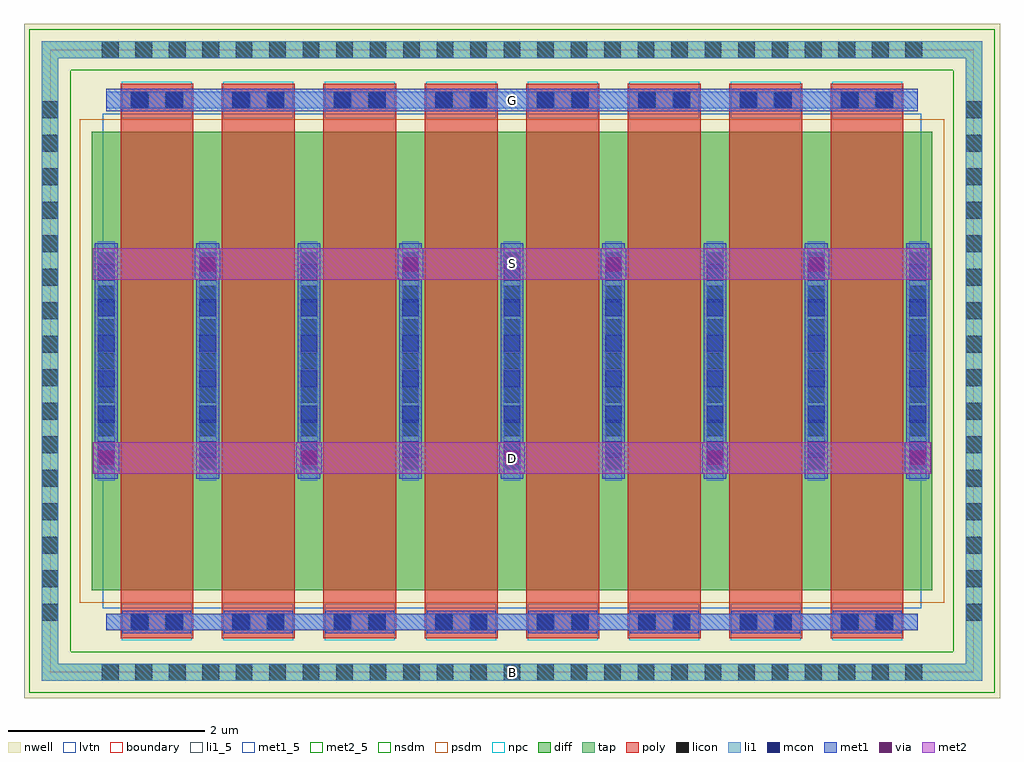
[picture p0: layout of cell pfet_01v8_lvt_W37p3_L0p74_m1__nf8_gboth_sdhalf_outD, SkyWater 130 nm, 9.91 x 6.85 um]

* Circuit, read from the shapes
.subckt pfet_01v8_lvt_W37p3_L0p74_m1__nf8_gboth_sdhalf_outD B D G S
XM1 S G D B sky130_fd_pr__pfet_01v8_lvt w=4.66 l=0.74 m=8
.ends

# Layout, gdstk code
import gdstk
lib = gdstk.Library(unit=1e-6, precision=1e-09)
def R(c, l, rs):  # rectangles x0, y0, x1, y1
    for r in rs: c.add(gdstk.rectangle(r[:2], r[2:], *l))
def A(c, l, x, y, w, h, nx, ny, dx, dy):  # array of equal rectangles
    R(c, l, [(x+i*dx, y+j*dy, x+i*dx+w, y+j*dy+h) for i in range(nx) for j in range(ny)])
nwell = (64, 20)
diff = (65, 20)
tap = (65, 44)
poly = (66, 20)
licon = (66, 44)
li1_5 = (67, 5)
li1 = (67, 20)
mcon = (67, 44)
met1_5 = (68, 5)
met1 = (68, 20)
via = (68, 44)
met2_5 = (69, 5)
met2 = (69, 20)
nsdm = (93, 44)
psdm = (94, 20)
npc = (95, 20)
lvtn = (125, 44)
boundary = (235, 4)

sky130_fd_pr__pfet_01v8_ = lib.new_cell('sky130_fd_pr__pfet_01v8_lvt_UUM67X')
R(sky130_fd_pr__pfet_01v8_, nwell, [(-4.955,-3.425,4.955,3.425)])
R(sky130_fd_pr__pfet_01v8_, diff, [(-4.265,-2.33,4.265,2.33)])
R(sky130_fd_pr__pfet_01v8_, tap, [(-4.775,-3.245,4.775,-3.075), (-4.775,-3.075,-4.605,3.075), (4.605,-3.075,4.775,3.075), (-4.775,3.075,4.775,3.245)])
A(sky130_fd_pr__pfet_01v8_, poly, -3.975, -2.815, 0.74, 5.63, 8, 1, 1.03, 0)
A(sky130_fd_pr__pfet_01v8_, licon, -4.165, -3.245, 0.17, 0.17, 25, 2, 0.34, 6.32)
A(sky130_fd_pr__pfet_01v8_, licon, -4.775, -2.635, 0.17, 0.17, 1, 16, 0, 0.34)
A(sky130_fd_pr__pfet_01v8_, licon, 4.605, -2.635, 0.17, 0.17, 1, 16, 0, 0.34)
A(sky130_fd_pr__pfet_01v8_, licon, -4.205, -1.105, 0.17, 0.17, 9, 7, 1.03, 0.34)
R(sky130_fd_pr__pfet_01v8_, licon, [(-3.86,-2.735,-3.69,-2.565), (-3.52,-2.735,-3.35,-2.565), (-2.83,-2.735,-2.66,-2.565), (-2.49,-2.735,-2.32,-2.565), (-1.8,-2.735,-1.63,-2.565), (-1.46,-2.735,-1.29,-2.565), (-0.77,-2.735,-0.6,-2.565), (-0.43,-2.735,-0.26,-2.565), (0.26,-2.735,0.43,-2.565), (0.6,-2.735,0.77,-2.565), (1.29,-2.735,1.46,-2.565), (1.63,-2.735,1.8,-2.565), (2.32,-2.735,2.49,-2.565), (2.66,-2.735,2.83,-2.565), (3.35,-2.735,3.52,-2.565), (3.69,-2.735,3.86,-2.565), (-3.86,2.565,-3.69,2.735), (-3.52,2.565,-3.35,2.735), (-2.83,2.565,-2.66,2.735), (-2.49,2.565,-2.32,2.735), (-1.8,2.565,-1.63,2.735), (-1.46,2.565,-1.29,2.735), (-0.77,2.565,-0.6,2.735), (-0.43,2.565,-0.26,2.735), (0.26,2.565,0.43,2.735), (0.6,2.565,0.77,2.735), (1.29,2.565,1.46,2.735), (1.63,2.565,1.8,2.735), (2.32,2.565,2.49,2.735), (2.66,2.565,2.83,2.735), (3.35,2.565,3.52,2.735), (3.69,2.565,3.86,2.735)])
A(sky130_fd_pr__pfet_01v8_, li1, -4.205, -1.215, 0.17, 2.43, 9, 1, 1.03, 0)
R(sky130_fd_pr__pfet_01v8_, li1, [(-4.775,-3.245,4.775,-3.075), (-4.775,-3.075,-4.605,3.075), (4.605,-3.075,4.775,3.075), (-4.12,-2.735,4.12,-2.565), (-4.12,2.565,4.12,2.735), (-4.775,3.075,4.775,3.245)])
A(sky130_fd_pr__pfet_01v8_, mcon, -4.205, -0.985, 0.17, 0.17, 9, 6, 1.03, 0.36)
R(sky130_fd_pr__pfet_01v8_, mcon, [(-3.87,-2.735,-3.7,-2.565), (-3.51,-2.735,-3.34,-2.565), (-2.84,-2.735,-2.67,-2.565), (-2.48,-2.735,-2.31,-2.565), (-1.81,-2.735,-1.64,-2.565), (-1.45,-2.735,-1.28,-2.565), (-0.78,-2.735,-0.61,-2.565), (-0.42,-2.735,-0.25,-2.565), (0.25,-2.735,0.42,-2.565), (0.61,-2.735,0.78,-2.565), (1.28,-2.735,1.45,-2.565), (1.64,-2.735,1.81,-2.565), (2.31,-2.735,2.48,-2.565), (2.67,-2.735,2.84,-2.565), (3.34,-2.735,3.51,-2.565), (3.7,-2.735,3.87,-2.565), (-3.87,2.565,-3.7,2.735), (-3.51,2.565,-3.34,2.735), (-2.84,2.565,-2.67,2.735), (-2.48,2.565,-2.31,2.735), (-1.81,2.565,-1.64,2.735), (-1.45,2.565,-1.28,2.735), (-0.78,2.565,-0.61,2.735), (-0.42,2.565,-0.25,2.735), (0.25,2.565,0.42,2.735), (0.61,2.565,0.78,2.735), (1.28,2.565,1.45,2.735), (1.64,2.565,1.81,2.735), (2.31,2.565,2.48,2.735), (2.67,2.565,2.84,2.735), (3.34,2.565,3.51,2.735), (3.7,2.565,3.87,2.735)])
A(sky130_fd_pr__pfet_01v8_, met1, -3.955, -2.765, 0.7, 0.03, 8, 2, 1.03, 0.2)
A(sky130_fd_pr__pfet_01v8_, met1, -4.235, -1.195, 0.23, 2.39, 9, 1, 1.03, 0)
A(sky130_fd_pr__pfet_01v8_, met1, -3.955, 2.535, 0.7, 0.03, 8, 2, 1.03, 0.2)
R(sky130_fd_pr__pfet_01v8_, met1, [(-4.12,-2.735,4.12,-2.565), (-4.12,2.565,4.12,2.735)])
R(sky130_fd_pr__pfet_01v8_, nsdm, [(-4.9,-3.37,4.9,-2.95), (-4.9,-2.95,-4.48,2.95), (4.48,-2.95,4.9,2.95), (-4.9,2.95,4.9,3.37)])
R(sky130_fd_pr__pfet_01v8_, psdm, [(-4.39,-2.455,4.39,2.455)])
A(sky130_fd_pr__pfet_01v8_, npc, -3.96, -2.835, 0.71, 0.37, 8, 2, 1.03, 5.3)
R(sky130_fd_pr__pfet_01v8_, lvtn, [(-4.155,-2.51,4.155,2.51)])
R(sky130_fd_pr__pfet_01v8_, boundary, [(-4.69,-3.16,4.69,3.16)])
sky130_fd_pr__pfet_01v8_.add(gdstk.Label('B', (0,-3.16), layer=67, texttype=5))
sky130_fd_pr__pfet_01v8_.add(gdstk.Label('D0', (-4.12,0), layer=67, texttype=5))
sky130_fd_pr__pfet_01v8_.add(gdstk.Label('G', (3.605,2.65), layer=67, texttype=5))
sky130_fd_pr__pfet_01v8_.add(gdstk.Label('G', (2.575,2.65), layer=67, texttype=5))
sky130_fd_pr__pfet_01v8_.add(gdstk.Label('G', (1.545,2.65), layer=67, texttype=5))
sky130_fd_pr__pfet_01v8_.add(gdstk.Label('G', (0.515,2.65), layer=67, texttype=5))
sky130_fd_pr__pfet_01v8_.add(gdstk.Label('G', (-0.515,2.65), layer=67, texttype=5))
sky130_fd_pr__pfet_01v8_.add(gdstk.Label('G', (-1.545,2.65), layer=67, texttype=5))
sky130_fd_pr__pfet_01v8_.add(gdstk.Label('G', (-2.575,2.65), layer=67, texttype=5))
sky130_fd_pr__pfet_01v8_.add(gdstk.Label('G', (-3.605,2.65), layer=67, texttype=5))
sky130_fd_pr__pfet_01v8_.add(gdstk.Label('S1', (-3.09,0), layer=67, texttype=5))
sky130_fd_pr__pfet_01v8_.add(gdstk.Label('D2', (-2.06,0), layer=67, texttype=5))
sky130_fd_pr__pfet_01v8_.add(gdstk.Label('S3', (-1.03,0), layer=67, texttype=5))
sky130_fd_pr__pfet_01v8_.add(gdstk.Label('D4', (0,0), layer=67, texttype=5))
sky130_fd_pr__pfet_01v8_.add(gdstk.Label('S5', (1.03,0), layer=67, texttype=5))
sky130_fd_pr__pfet_01v8_.add(gdstk.Label('D6', (2.06,0), layer=67, texttype=5))
sky130_fd_pr__pfet_01v8_.add(gdstk.Label('S7', (3.09,0), layer=67, texttype=5))

pfet_01v8_lvt_w37p3_l0p7 = lib.new_cell('pfet_01v8_lvt_W37p3_L0p74_m1__nf8_gboth_sdhalf_outD')
R(pfet_01v8_lvt_w37p3_l0p7, li1_5, [(4.605,-0.085,4.775,0.085)])
R(pfet_01v8_lvt_w37p3_l0p7, li1, [(4.605,-0.085,4.775,0.085)])
R(pfet_01v8_lvt_w37p3_l0p7, met1_5, [(0.57,5.695,8.81,5.925)])
A(pfet_01v8_lvt_w37p3_l0p7, met1, 0.44, 2.015, 0.26, 0.32, 5, 1, 2.06, 0)
A(pfet_01v8_lvt_w37p3_l0p7, met1, 1.47, 3.985, 0.26, 0.32, 4, 1, 2.06, 0)
R(pfet_01v8_lvt_w37p3_l0p7, met1, [(0.57,5.695,8.81,5.925)])
A(pfet_01v8_lvt_w37p3_l0p7, via, 0.495, 2.1, 0.15, 0.15, 5, 1, 2.06, 0)
A(pfet_01v8_lvt_w37p3_l0p7, via, 1.525, 4.07, 0.15, 0.15, 4, 1, 2.06, 0)
R(pfet_01v8_lvt_w37p3_l0p7, met2_5, [(0.435,2.015,8.945,2.335), (0.435,3.985,8.945,4.305)])
R(pfet_01v8_lvt_w37p3_l0p7, met2, [(0.435,2.015,8.945,2.335), (0.435,3.985,8.945,4.305)])
pfet_01v8_lvt_w37p3_l0p7.add(gdstk.Reference(sky130_fd_pr__pfet_01v8_, (4.69,3.16)))
pfet_01v8_lvt_w37p3_l0p7.add(gdstk.Label('S', (4.69,4.145), layer=69, texttype=5))
pfet_01v8_lvt_w37p3_l0p7.add(gdstk.Label('D', (4.69,2.175), layer=69, texttype=5))
pfet_01v8_lvt_w37p3_l0p7.add(gdstk.Label('G', (4.69,5.81), layer=68, texttype=5))
pfet_01v8_lvt_w37p3_l0p7.add(gdstk.Label('B', (4.69,0), layer=67, texttype=5))

lib.write_gds('pfet_01v8_lvt_W37p3_L0p74_m1__nf8_gboth_sdhalf_outD.gds')
